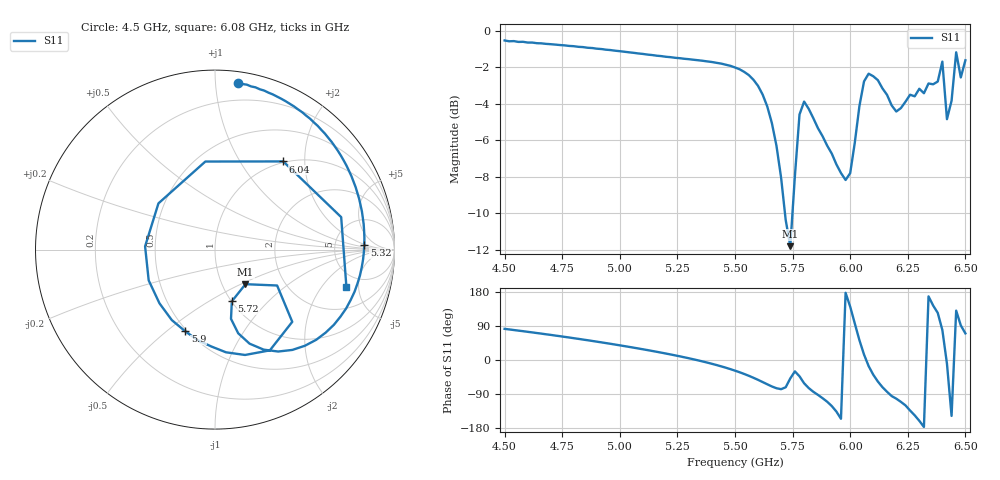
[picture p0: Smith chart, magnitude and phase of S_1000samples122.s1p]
! TOUCHSTONE file generated by CST MICROWAVE STUDIO
! Date and time: Thu Oct 27 01:56:38 2022
! Project name: L.cst
! Parameters = {Di=1.27; Epsilon_r=1.56; InnerDiameter=1.27; Length=2; Lf=10; Lg=60; OuterConductorThickness=0.2921; OuterDiameter=3.6; Wf=3; Wp=41.2; de=1.5; df=6.8; g=0.8; gx=1.9721; gy=2.8766; h=2.34; hf=1.524; px=9.23004; py=14.8317; w=9.7; wx=7.25794; wy=11.955}
! Header version: 2018
! Port assignment regex: !\s*Touchstone port\s*([0-9]+)\s*=\s*(CST MWS port|CST DS port)\s*([0-9]+|Zmin|Zmax)\s*\(\"(.*)\"\)(\s*mode\s*([0-9]+))?.*
! Touchstone port assignment:
! Touchstone port 1 = CST MWS port 1 ("")
# GHz S DB R 50
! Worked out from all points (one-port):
!   101 points, 4.5 GHz to 6.5 GHz, reference 50 ohm
!   lowest |S11| = -11.8 dB at 5.74 GHz (marker M1), VSWR 1.69, Z = 64.3 - j26.5 ohm
!   |S11| at or under -10 dB: 5.717 GHz to 5.749 GHz (32.58 MHz wide, 0.568 % of centre)
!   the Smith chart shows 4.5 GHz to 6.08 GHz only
!   S11 on the Smith chart (normalised r, x): 4.5 GHz: 0.07, +1.15; 5.32 GHz: 11, +2; 5.72 GHz: 1.00, -0.64; 5.9 GHz: 0.49, -0.58; 6.04 GHz: 0.98, +1.57; 6.08 GHz: 3.61, -3.63
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4.5  -0.54 82.1
4.76  -0.81 61.1
5  -1.13 38.7
5.26  -1.51 9.7
5.32  -1.60 1.8
5.5  -2.02 -28.1
5.62  -3.50 -58.2
5.72  -10.37 -72.0
5.74  -11.81 -48.6
5.76  -7.96 -30.0
5.8  -3.89 -61.4
5.9  -6.30 -110.1
5.96  -7.80 -155.1
6  -7.81 140.7
6.02  -6.13 96.3
6.04  -4.13 52.2
6.06  -2.78 14.4
6.08  -2.36 -16.1
6.14  -3.16 -71.7
6.26  -3.51 -133.4
6.34  -2.90 167.9
6.38  -2.79 124.3
6.4  -1.70 79.1
6.42  -4.85 -9.8
6.44  -3.84 -147.5
6.46  -1.19 130.2
6.48  -2.56 91.4
6.5  -1.63 70.3
